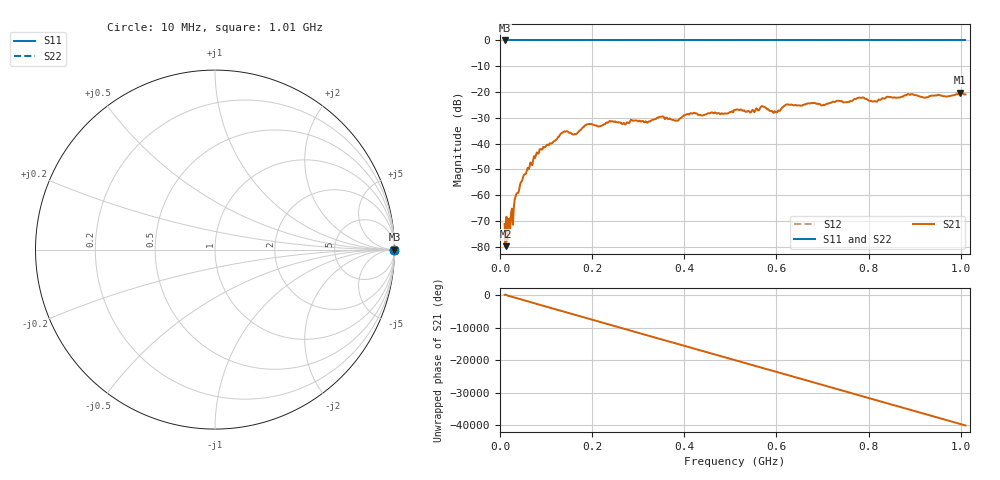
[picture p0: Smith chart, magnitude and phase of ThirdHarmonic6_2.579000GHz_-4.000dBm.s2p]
! 8/17/2025 5:26:49 AM
! C:\ANRITSUVNA\TEMP\TEMP.S2P
! CHANNEL.1
! TR.MEASUREMENT
! RAW.DATA
! RF.CORRECTION.OFF
! AVERAGING.OFF
! IF.BANDWIDTH: 5KHZ
! SWEEPTYPE:  FREQ.SWEEP(Linear)
! Reference Plane Port Info
! PORT:  PORT1  PORT2
! DISTANCE:  0  m  0  m
! TIME:  0  s  0  s
! PHASE.OFFSET:  0  deg.  0  deg.
! LOSS:  0  dB  0  dB
! REF.LOSS:  0  dB  0  dB
! REF.FREQ:  0  Hz  0  Hz
! Power Info
! POWER:  -20  dBm  -20  dBm
! EFF.POWER:  -20  dBm  -20  dBm
! SOURCE.ATTEN:  0  dB  0  dB
! TEST.ATTEN:  0  dB  0  dB
# GHZ S RI R 50.0
! FREQ.GHZ  S11RE  S11IM  S21RE  S21IM  S12RE  S12IM  S22RE  S22IM
!; PortSelection: Port_12
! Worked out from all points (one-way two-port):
!   501 points, 10 MHz to 1.01 GHz, reference 50 ohm
!   highest |S21| = -20.29 dB at 998 MHz (marker M1); lowest = -79.8 dB at 12 MHz (marker M2)
!   lowest |S11| = 0.0 dB at 10 MHz (marker M3)
!   |S11| at or under -10 dB: nowhere
!   |S22| runs from 0.0 to 0.0 dB; largest |S21 - S12| = 1.1
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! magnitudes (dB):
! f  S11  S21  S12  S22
! 10 MHz  0.0  -71.1  0.0  0.0
! 12 MHz  0.0  -79.8  0.0  0.0
! 26 MHz  0.0  -65.2  0.0  0.0
! 34 MHz  0.0  -60.5  0.0  0.0
! 48 MHz  0.0  -54.4  0.0  0.0
! 78 MHz  0.0  -44.5  0.0  0.0
! 136 MHz  0.0  -35.8  0.0  0.0
! 162 MHz  0.0  -36.3  0.0  0.0
! 178 MHz  0.0  -34.0  0.0  0.0
! 192 MHz  0.0  -32.4  0.0  0.0
! 318 MHz  0.0  -31.7  0.0  0.0
! 344 MHz  0.0  -30.0  0.0  0.0
! 384 MHz  0.0  -31.1  0.0  0.0
! 418 MHz  0.0  -28.3  0.0  0.0
! 510 MHz  0.0  -26.9  0.0  0.0
! 570 MHz  0.0  -25.5  0.0  0.0
! 598 MHz  0.0  -27.6  0.0  0.0
! 622 MHz  0.0  -24.8  0.0  0.0
! 678 MHz  0.0  -24.3  0.0  0.0
! 844 MHz  0.0  -21.9  0.0  0.0
! 998 MHz  0.0  -20.3  0.0  0.0
! 1.01 GHz  0.0  -20.9  0.0  0.0
